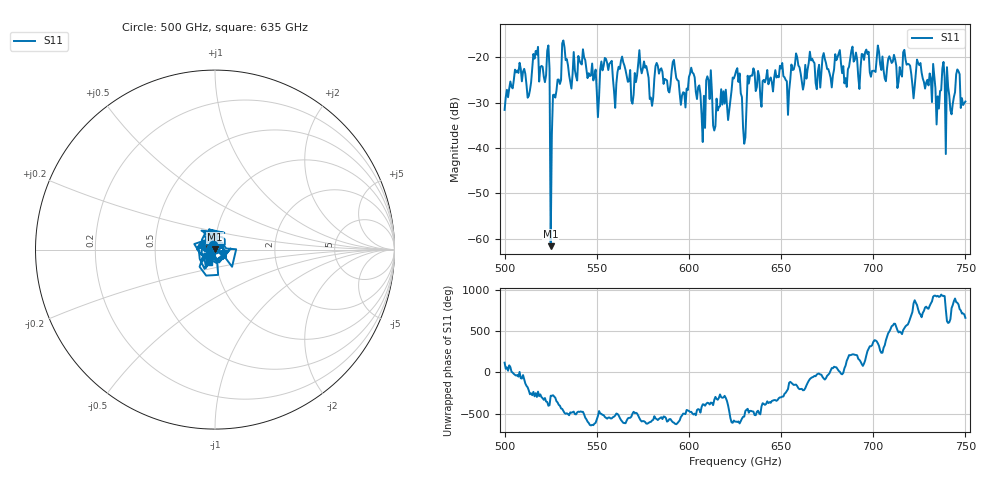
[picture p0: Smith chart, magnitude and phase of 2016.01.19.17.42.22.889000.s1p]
!Created with skrf (http://scikit-rf.org).
# GHz S RI R 50.0
!freq ReS11 ImS11
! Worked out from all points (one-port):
!   401 points, 500 GHz to 750 GHz, reference 50 ohm
!   lowest |S11| = -61.7 dB at 525 GHz (marker M1), VSWR 1.00, Z = 50 + j0.0801 ohm
!   |S11| at or under -10 dB: start of sweep to end of sweep
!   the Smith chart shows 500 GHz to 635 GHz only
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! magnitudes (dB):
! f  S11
! 500 GHz  -31.6
! 506.9 GHz  -22.9
! 513.1 GHz  -28.5
! 516.9 GHz  -18.6
! 523.1 GHz  -18.6
! 525 GHz  -61.7
! 526.2 GHz  -28.3
! 527.5 GHz  -28.9
! 531.2 GHz  -17.0
! 550 GHz  -27.5
! 562.5 GHz  -22.6
! 570 GHz  -28.3
! 576.2 GHz  -22.3
! 579.4 GHz  -28.9
! 583.1 GHz  -21.9
! 593.8 GHz  -25.1
! 596.9 GHz  -27.7
! 601.9 GHz  -23.4
! 607.5 GHz  -38.7
! 610.6 GHz  -25.1
! 614.4 GHz  -35.2
! 625 GHz  -23.9
! 630 GHz  -39.1
! 634.4 GHz  -24.1
! 656.2 GHz  -22.8
! 687.5 GHz  -20.4
! 718.8 GHz  -21.5
! 750 GHz  -29.8
